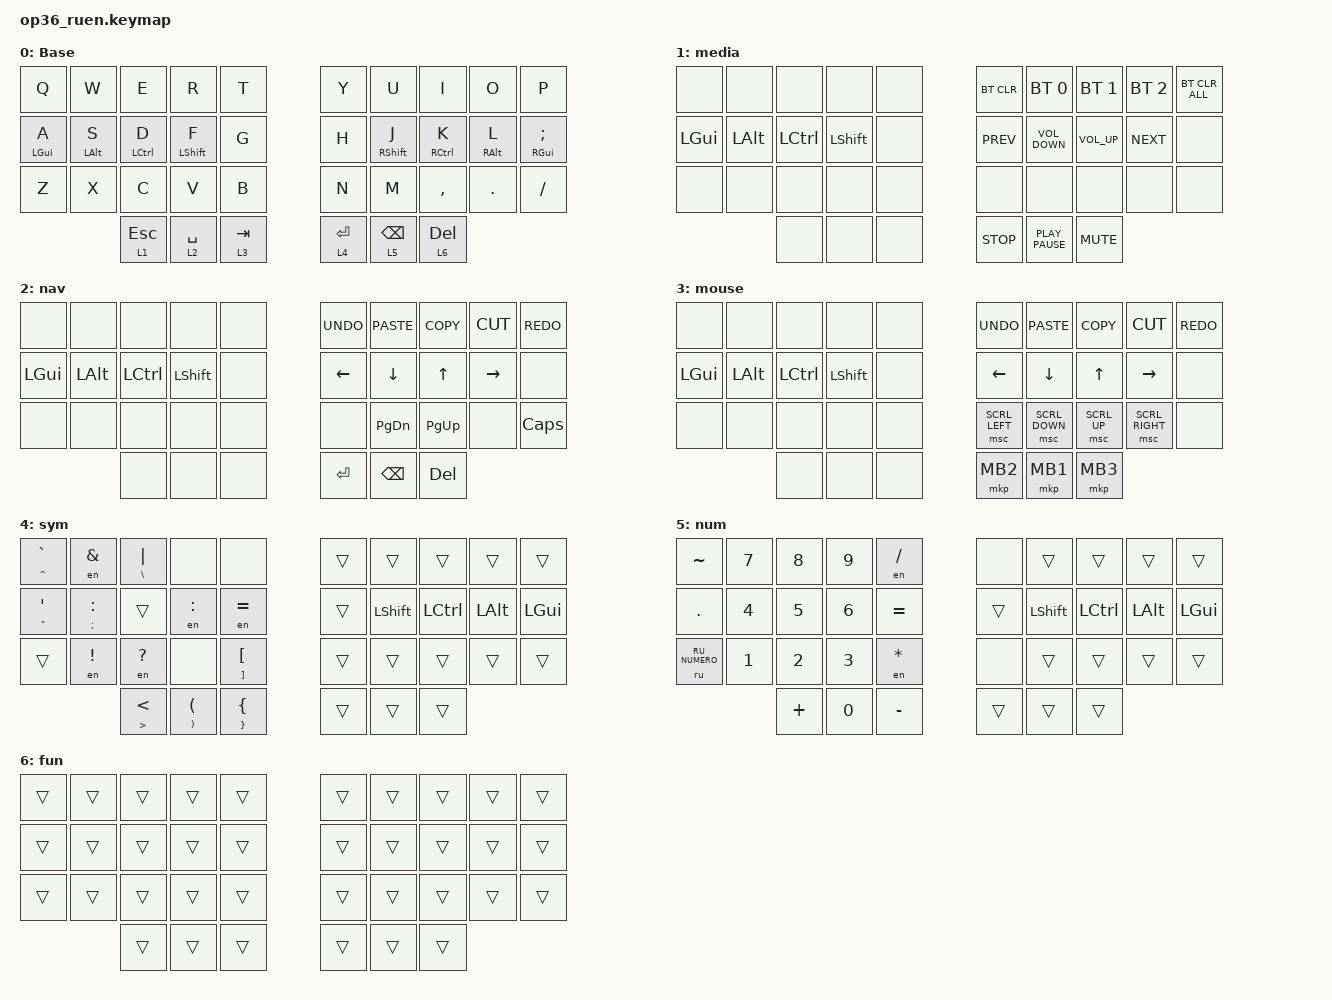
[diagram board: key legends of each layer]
#include "keys_ru.h"
#include "keys_ru.h"
#include <behaviors.dtsi>
#include <dt-bindings/zmk/bt.h>
#include <dt-bindings/zmk/keys.h>
#include <dt-bindings/zmk/pointing.h>

&mt {
    quick-tap-ms = <200>;
    flavor = "tap-preferred";
    require-prior-idle-ms = <125>;
};

/ {
    behaviors {
        hml: home_row_mod_left {
            compatible = "zmk,behavior-hold-tap";
            #binding-cells = <2>;
            flavor = "balanced";
            require-prior-idle-ms = <150>;
            tapping-term-ms = <280>;
            quick-tap-ms = <175>;
            bindings = <&kp>, <&kp>;

            hold-trigger-key-positions = <5 6 7 8 9 15 16 17 18 19 25 26 27 28 29 33 34 35>;
            hold-trigger-on-release;
        };

        hmr: home_row_mod_right {
            compatible = "zmk,behavior-hold-tap";
            #binding-cells = <2>;
            flavor = "balanced";
            require-prior-idle-ms = <150>;
            tapping-term-ms = <280>;
            quick-tap-ms = <175>;
            bindings = <&kp>, <&kp>;

            hold-trigger-key-positions = <0 1 2 3 4 10 11 12 13 14 20 21 22 23 24 30 31 32>;
            hold-trigger-on-release;
        };

        hml_en: hml_en {
            compatible = "zmk,behavior-hold-tap";
            #binding-cells = <2>;
            flavor = "balanced";
            require-prior-idle-ms = <150>;
            tapping-term-ms = <280>;
            quick-tap-ms = <175>;
            bindings = <&kp>, <&en>;

            hold-trigger-key-positions = <5 6 7 8 9 15 16 17 18 19 25 26 27 28 29 33 34 35>;
            hold-trigger-on-release;
            label = "HML_EN";
        };

        hmr_en: hmr_en {
            compatible = "zmk,behavior-hold-tap";
            #binding-cells = <2>;
            flavor = "balanced";
            require-prior-idle-ms = <150>;
            tapping-term-ms = <280>;
            quick-tap-ms = <175>;
            bindings = <&kp>, <&en>;

            hold-trigger-key-positions = <0 1 2 3 4 10 11 12 13 14 20 21 22 23 24 30 31 32>;
            hold-trigger-on-release;
            label = "HMR_EN";
        };

        mt_layer: mt_layer {
            compatible = "zmk,behavior-hold-tap";
            label = "MT_LAYER";
            bindings = <&mo>, <&kp>;

            #binding-cells = <2>;
            tapping-term-ms = <180>;
        };

        en_hold_tap: en_hold_tap {
            compatible = "zmk,behavior-hold-tap";
            label = "EN_HOLD_TAP";
            bindings = <&en>, <&en>;

            #binding-cells = <2>;
            tapping-term-ms = <200>;
        };
    };

    combos { compatible = "zmk,combos"; };

    macros {
        to_ru: to_ru {
            compatible = "zmk,behavior-macro";
            #binding-cells = <0>;
            bindings = <&kp LS(LC(N2))>;
            label = "TO_RU";
            wait-ms = <0>;
            tap-ms = <30>;
        };

        to_en: to_en {
            compatible = "zmk,behavior-macro";
            #binding-cells = <0>;
            bindings = <&kp LS(LC(N1))>;
            label = "TO_EN";
            wait-ms = <0>;
            tap-ms = <30>;
        };

        layer_en: layer_en {
            compatible = "zmk,behavior-macro";
            #binding-cells = <0>;
            bindings = <&to 0 &to_en>;
            label = "LAYER_EN";
            wait-ms = <0>;
            tap-ms = <30>;
        };

        layer_ru: layer_ru {
            compatible = "zmk,behavior-macro";
            #binding-cells = <0>;
            bindings = <&to 0 &to_ru>;
            label = "LAYER_RU";
            tap-ms = <30>;
            wait-ms = <0>;
        };

        en: en {
            compatible = "zmk,behavior-macro-one-param";
            #binding-cells = <1>;
            bindings =
                <&to_en>,
                <&macro_press>,
                <&macro_param_1to1 &kp MACRO_PLACEHOLDER>,
                <&macro_pause_for_release>,
                <&macro_release>,
                <&macro_param_1to1 &kp MACRO_PLACEHOLDER>,
                <&macro_tap>,
                <&to_ru>;

            label = "EN";
            wait-ms = <0>;
            tap-ms = <30>;
        };

        ru: ru {
            compatible = "zmk,behavior-macro-one-param";
            #binding-cells = <1>;
            bindings =
                <&to_ru>,
                <&macro_press>,
                <&macro_param_1to1 &kp MACRO_PLACEHOLDER>,
                <&macro_pause_for_release>,
                <&macro_release>,
                <&macro_param_1to1 &kp MACRO_PLACEHOLDER>,
                <&macro_tap>,
                <&to_en>;

            label = "RU";
            wait-ms = <0>;
            tap-ms = <30>;
        };
    };

    keymap {
        compatible = "zmk,keymap";

        en {
            bindings = <
  &kp Q        &kp W        &kp E         &kp R          &kp T                                &kp Y            &kp U          &kp I         &kp O        &kp P
  &hml LGUI A  &hml LALT S  &hml LCTRL D  &hml LSHIFT F  &kp G                                &kp H            &hmr RSHIFT J  &hmr RCTRL K  &hmr RALT L  &hmr RGUI SEMI
  &kp Z        &kp X        &kp C         &kp V          &kp B                                &kp N            &kp M          &kp COMMA     &kp DOT      &kp FSLH
                                          &lt 1 ESC      &lt 2 SPACE  &lt 3 TAB    &lt 4 RET  &lt 5 BACKSPACE  &lt 6 DEL
            >;

            display-name = "Base";
        };

        media {
            bindings = <
  &none     &none     &none      &none      &none                       &bt BT_CLR        &bt BT_SEL 0       &bt BT_SEL 1  &bt BT_SEL 2  &bt BT_CLR_ALL
  &kp LGUI  &kp LALT  &kp LCTRL  &kp LSHFT  &none                       &kp K_PREV        &kp C_VOLUME_DOWN  &kp C_VOL_UP  &kp K_NEXT    &none
  &none     &none     &none      &none      &none                       &none             &none              &none         &none         &none
                                 &none      &none  &none    &kp K_STOP  &kp K_PLAY_PAUSE  &kp K_MUTE
            >;
        };

        nav {
            bindings = <
  &none     &none     &none      &none      &none                    &kp K_UNDO  &kp K_PASTE    &kp K_COPY  &kp K_CUT  &kp K_REDO
  &kp LGUI  &kp LALT  &kp LCTRL  &kp LSHFT  &none                    &kp LEFT    &kp DOWN       &kp UP      &kp RIGHT  &none
  &none     &none     &none      &none      &none                    &none       &kp PAGE_DOWN  &kp PG_UP   &none      &kp CAPSLOCK
                                 &none      &none  &none    &kp RET  &kp BSPC    &kp DEL
            >;
        };

        mouse {
            bindings = <
  &none     &none     &none      &none      &none                     &kp K_UNDO      &kp K_PASTE     &kp K_COPY    &kp K_CUT        &kp K_REDO
  &kp LGUI  &kp LALT  &kp LCTRL  &kp LSHFT  &none                     &kp LEFT        &kp DOWN        &kp UP        &kp RIGHT        &none
  &none     &none     &none      &none      &none                     &msc SCRL_LEFT  &msc SCRL_DOWN  &msc SCRL_UP  &msc SCRL_RIGHT  &none
                                 &none      &none  &none    &mkp MB2  &mkp MB1        &mkp MB3
            >;
        };

        sym {
            bindings = <
  &en_hold_tap CARET GRAVE        &en AMPERSAND            &en_hold_tap BACKSLASH PIPE  &none                                &none                                                                                           &trans  &trans     &trans     &trans    &trans
  &en_hold_tap DOUBLE_QUOTES SQT  &en_hold_tap SEMI COLON  &trans                       &en COLON                            &en EQUAL                                                                                       &trans  &kp LSHFT  &kp LCTRL  &kp LALT  &kp LGUI
  &trans                          &en EXCLAMATION          &en QUESTION                 &none                                &en_hold_tap RIGHT_BRACKET LEFT_BRACKET                                                         &trans  &trans     &trans     &trans    &trans
                                                                                        &en_hold_tap GREATER_THAN LESS_THAN  &en_hold_tap RIGHT_PARENTHESIS LEFT_PARENTHESIS  &en_hold_tap RIGHT_BRACE LEFT_BRACE    &trans  &trans  &trans
            >;
        };

        num {
            bindings = <
  &kp TILDE      &kp N7  &kp N8  &kp N9    &en FSLH                        &none   &trans     &trans     &trans    &trans
  &kp DOT        &kp N4  &kp N5  &kp N6    &kp EQUAL                       &trans  &kp LSHFT  &kp LCTRL  &kp LALT  &kp LGUI
  &ru RU_NUMERO  &kp N1  &kp N2  &kp N3    &en STAR                        &none   &trans     &trans     &trans    &trans
                                 &kp PLUS  &kp N0     &kp MINUS    &trans  &trans  &trans
            >;
        };

        fun {
            bindings = <
  &trans  &trans  &trans  &trans  &trans                    &trans  &trans  &trans  &trans  &trans
  &trans  &trans  &trans  &trans  &trans                    &trans  &trans  &trans  &trans  &trans
  &trans  &trans  &trans  &trans  &trans                    &trans  &trans  &trans  &trans  &trans
                          &trans  &trans  &trans    &trans  &trans  &trans
            >;
        };
    };
};
